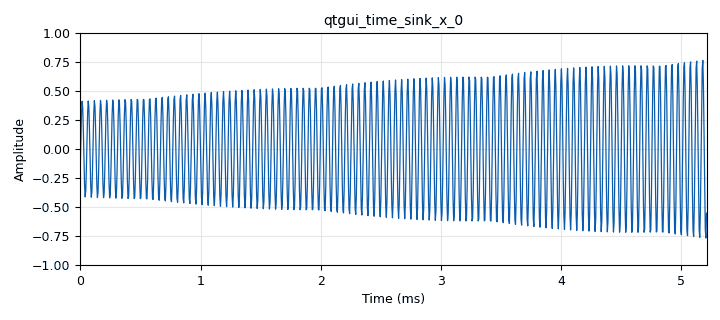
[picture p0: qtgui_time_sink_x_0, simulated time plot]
options:
  parameters:
    author: Fabian
    copyright: UIS
    generate_options: qt_gui
    id: potenciadeseñales
    output_language: python
    title: potencia de señales
  states: {}

blocks:
- name: A
  id: variable_qtgui_range
  parameters:
    start: '0'
    step: '1'
    stop: '35'
    value: '1'
  states: {}
- name: samp_rate
  id: variable
  parameters:
    value: '196420'
  states: {}
- name: CalculoPotencia_0
  id: CalculoPotencia
  parameters:
    l_vect: '1024'
  states: {}
- name: analog_sig_source_x_0
  id: analog_sig_source_x
  parameters:
    amp: A
    freq: 35+2+1+7+4+7+6+8
    offset: '0'
    phase: '0'
    samp_rate: samp_rate
    type: float
    waveform: analog.GR_SAW_WAVE
  states: {}
- name: analog_sig_source_x_0_0
  id: analog_sig_source_x
  parameters:
    amp: A
    freq: '19572'
    offset: '0'
    phase: '0'
    samp_rate: samp_rate
    type: float
    waveform: analog.GR_COS_WAVE
  states: {}
- name: blocks_multiply_xx_0
  id: blocks_multiply_xx
  parameters:
    type: float
  states: {}
- name: blocks_throttle_0
  id: blocks_throttle
  parameters:
    samples_per_second: samp_rate
    type: float
  states: {}
- name: qtgui_time_sink_x_0
  id: qtgui_time_sink_x
  parameters:
    size: '1024'
    srate: samp_rate
    type: float
  states: {}

connections:
- [analog_sig_source_x_0, '0', blocks_multiply_xx_0, '0']
- [analog_sig_source_x_0_0, '0', blocks_multiply_xx_0, '1']
- [blocks_multiply_xx_0, '0', blocks_throttle_0, '0']
- [blocks_throttle_0, '0', CalculoPotencia_0, '0']
- [blocks_throttle_0, '0', qtgui_time_sink_x_0, '0']

metadata:
  file_format: 1
